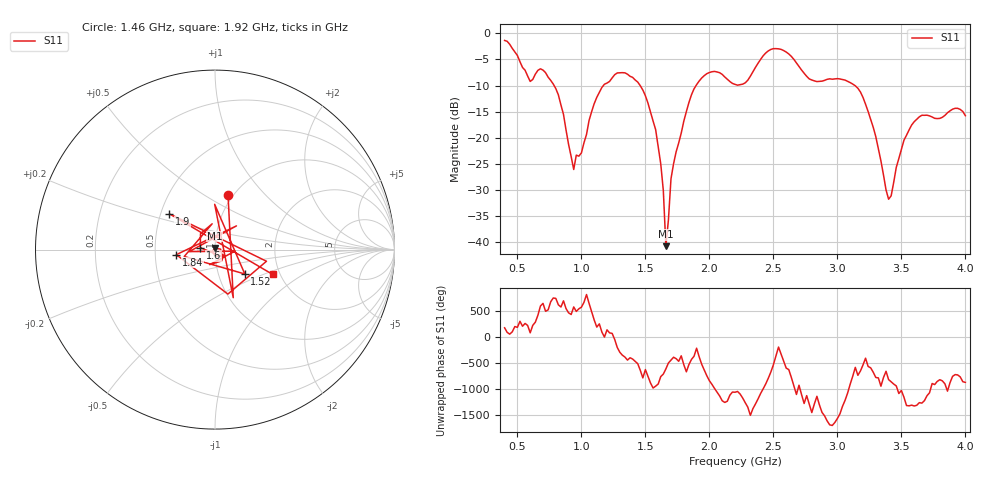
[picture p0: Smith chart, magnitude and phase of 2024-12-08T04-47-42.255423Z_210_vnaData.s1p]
!Created with skrf (http://scikit-rf.org).
# Hz S RI R 50.0
!freq ReS11 ImS11
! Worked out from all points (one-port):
!   181 points, 400 MHz to 4 GHz, reference 50 ohm
!   lowest |S11| = -40.7 dB at 1.66 GHz (marker M1), VSWR 1.02, Z = 49.8 + j0.886 ohm
!   |S11| at or under -10 dB: 786.6 MHz to 1.172 GHz (385.2 MHz wide, 39.3 % of centre); 1.459 GHz to 1.896 GHz (436.8 MHz wide, 26 % of centre); 3.137 GHz to end of sweep
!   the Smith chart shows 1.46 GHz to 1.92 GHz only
!   S11 on the Smith chart (normalised r, x): 1.46 GHz: 0.94, +0.64; 1.52 GHz: 1.34, -0.38; 1.6 GHz: 0.85, +0.02; 1.84 GHz: 0.64, -0.04; 1.9 GHz: 0.56, +0.25; 1.92 GHz: 1.83, -0.57
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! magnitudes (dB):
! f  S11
! 400 MHz  -1.4
! 600 MHz  -9.2
! 720 MHz  -7.5
! 860 MHz  -15.5
! 940 MHz  -26.1
! 1.12 GHz  -12.3
! 1.3 GHz  -7.6
! 1.46 GHz  -10.0
! 1.52 GHz  -13.4
! 1.6 GHz  -21.7
! 1.64 GHz  -30.1
! 1.66 GHz  -40.7
! 1.7 GHz  -27.8
! 1.76 GHz  -21.0
! 1.84 GHz  -13.3
! 1.9 GHz  -9.8
! 1.92 GHz  -9.1
! 2.04 GHz  -7.3
! 2.2 GHz  -9.8
! 2.48 GHz  -3.1
! 2.66 GHz  -5.0
! 2.8 GHz  -8.9
! 3.1 GHz  -9.4
! 3.24 GHz  -15.0
! 3.4 GHz  -31.8
! 3.56 GHz  -18.5
! 3.66 GHz  -15.7
! 4 GHz  -15.8
